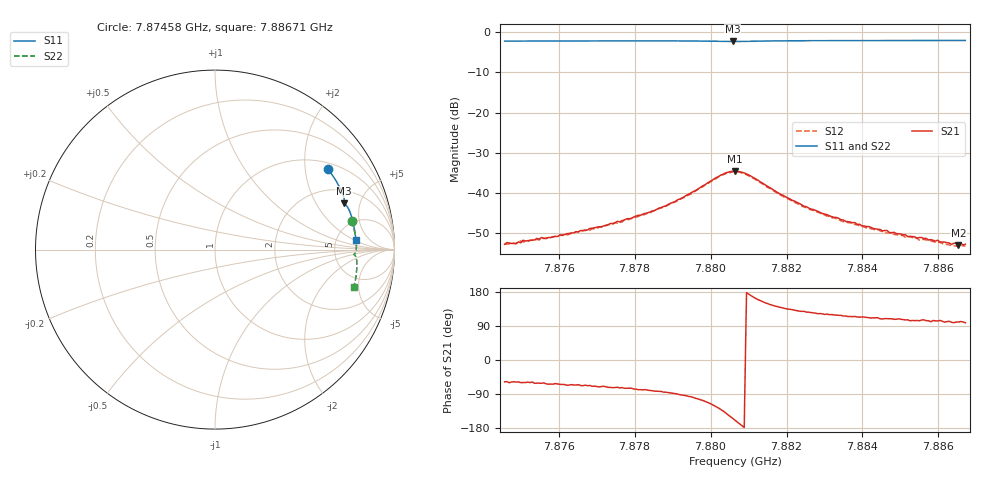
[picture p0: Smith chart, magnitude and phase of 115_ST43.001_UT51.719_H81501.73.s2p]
#  HZ  S  DB  R  50.00
! Rohde & Schwarz Vector Network Analyzer
! Rohde-Schwarz,ZNB20-2Port,1311601062101988,3.16
! Created: UTC 1/12/2023, 6:37:48 PM
! freq[Hz]  db:S11  ang:S11  db:S21  ang:S21  db:S12  ang:S12  db:S22  ang:S22
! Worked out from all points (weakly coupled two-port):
!   201 points, 7.87458 GHz to 7.88671 GHz, reference 50 ohm
!   highest |S21| = -34.51 dB at 7.88064 GHz (marker M1); lowest = -53.0 dB at 7.88653 GHz (marker M2)
!   lowest |S11| = -2.3 dB at 7.88058 GHz (marker M3), VSWR 7.46, Z = 144 + j177 ohm
!   |S11| at or under -10 dB: nowhere
!   |S22| runs from -2.2 to -1.9 dB; largest |S21 - S12| = 0.0013
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7.874579e9  -2.25 35.6  -52.71 -57.6  -52.53 -61.5  -2.17 11.6
7.875489e9  -2.23 33.1  -51.44 -61.0  -51.62 -64.0  -2.14 9.4
7.876641e9  -2.21 30.0  -49.29 -67.9  -49.34 -69.0  -2.10 6.7
7.877551e9  -2.20 27.6  -46.98 -71.9  -47.49 -76.8  -2.08 4.6
7.878643e9  -2.19 24.5  -43.71 -82.7  -43.83 -86.6  -2.07 2.0
7.879492e9  -2.21 22.1  -39.90 -97.1  -40.17 -101.3  -2.09 -0.1
7.88028e9  -2.31 20.0  -35.47 -131.2  -35.63 -134.6  -2.18 -1.8
7.880584e9  -2.34 19.7  -34.53 -153.7  -34.72 -157.4  -2.21 -2.0
7.880644e9  -2.34 19.6  -34.51 -158.9  -34.70 -162.1  -2.21 -2.0
7.881008e9  -2.30 19.2  -35.48 173.6  -35.68 170.1  -2.17 -2.3
7.881857e9  -2.18 17.0  -40.38 138.4  -40.53 135.1  -2.04 -4.0
7.882706e9  -2.14 14.6  -44.05 124.3  -44.29 121.2  -1.99 -6.0
7.883495e9  -2.13 12.5  -46.67 116.1  -47.08 114.5  -1.97 -7.9
7.884708e9  -2.11 9.3  -49.77 108.9  -49.90 105.9  -1.95 -10.6
7.885436e9  -2.10 7.4  -51.20 104.3  -51.13 102.7  -1.93 -12.2
7.885496e9  -2.09 7.2  -51.01 103.4  -51.69 101.8  -1.93 -12.3
7.885618e9  -2.09 6.9  -51.25 106.0  -51.43 101.0  -1.93 -12.5
7.886346e9  -2.09 5.0  -52.71 99.5  -53.04 97.7  -1.92 -14.1
7.886467e9  -2.09 4.7  -52.47 100.1  -53.16 96.8  -1.92 -14.4
7.886528e9  -2.09 4.5  -52.97 100.4  -53.09 96.7  -1.93 -14.6
7.886588e9  -2.09 4.4  -52.43 101.6  -52.99 97.8  -1.92 -14.6
7.88671e9  -2.09 4.1  -52.66 98.4  -53.14 96.7  -1.92 -14.9
